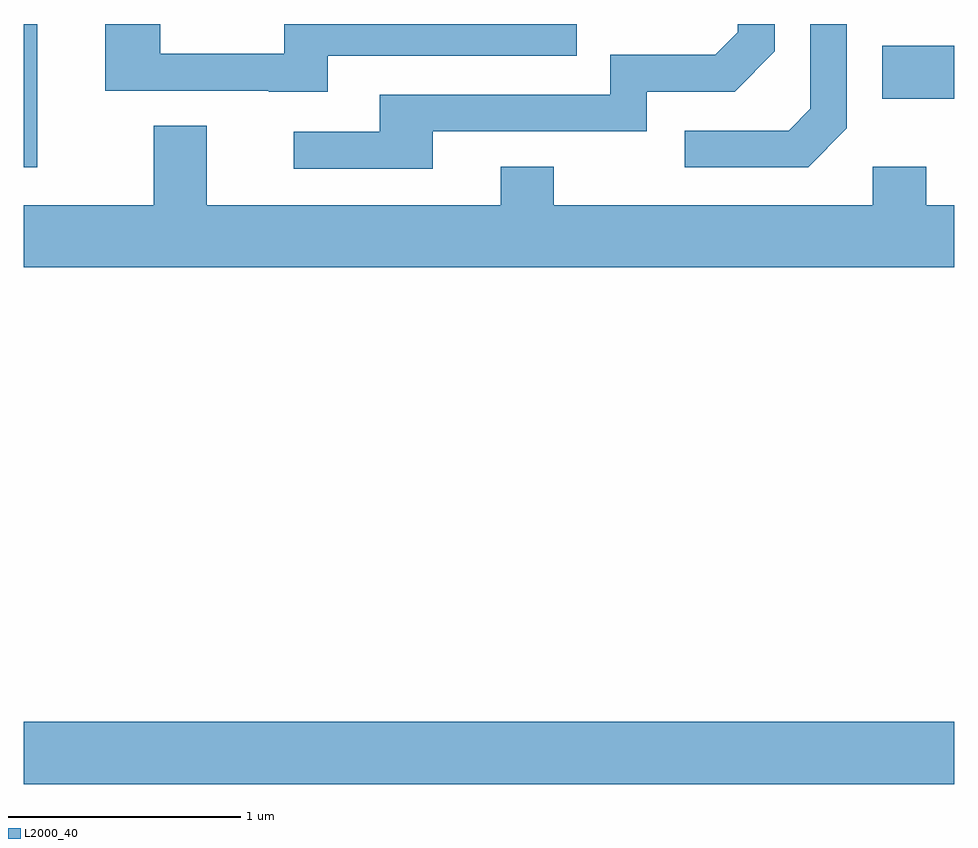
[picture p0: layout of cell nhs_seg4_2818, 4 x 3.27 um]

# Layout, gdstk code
import gdstk
lib = gdstk.Library(unit=1e-6, precision=1e-09)
def R(c, l, rs):  # rectangles x0, y0, x1, y1
    for r in rs: c.add(gdstk.rectangle(r[:2], r[2:], *l))
def P(c, l, *ps):  # polygons
    for p in ps: c.add(gdstk.Polygon(p, *l))
L2000_40 = (2000, 40)

nhs_seg4_2818 = lib.new_cell('nhs_seg4_2818')
R(nhs_seg4_2818, L2000_40, [(267.611,1314.716,271.611,1314.984), (267.611,1317.366,267.669,1317.982), (271.301,1317.661,271.611,1317.889)])
P(nhs_seg4_2818, L2000_40, [(268.919,1317.846),(269.988,1317.846),(269.988,1317.982),(268.731,1317.982),(268.731,1317.854),(268.199,1317.854),(268.199,1317.982),(267.961,1317.982),(267.961,1317.696),(268.665,1317.696),(268.665,1317.691),(268.919,1317.691)],
  [(271.149,1317.534),(271.149,1317.982),(270.991,1317.982),(270.991,1317.617),(270.899,1317.524),(270.453,1317.524),(270.453,1317.366),(270.982,1317.366)],
  [(269.369,1317.521),(270.289,1317.521),(270.289,1317.691),(270.667,1317.691),(270.839,1317.864),(270.839,1317.982),(270.681,1317.982),(270.681,1317.947),(270.584,1317.849),(270.131,1317.849),(270.131,1317.679),(269.141,1317.679),(269.141,1317.519),(268.773,1317.519),(268.773,1317.361),(269.369,1317.361)],
  [(271.611,1317.204),(271.489,1317.204),(271.489,1317.369),(271.261,1317.369),(271.261,1317.204),(269.889,1317.204),(269.889,1317.369),(269.661,1317.369),(269.661,1317.204),(268.399,1317.204),(268.399,1317.544),(268.171,1317.544),(268.171,1317.204),(267.611,1317.204),(267.611,1316.936),(271.611,1316.936)])

lib.write_gds('nhs_seg4_2818.gds')
